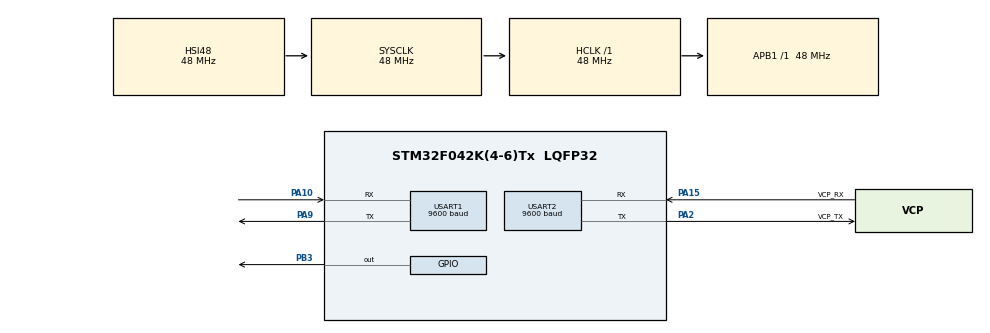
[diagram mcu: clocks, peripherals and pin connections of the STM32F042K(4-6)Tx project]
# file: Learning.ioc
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Mcu.Family=STM32F0
Mcu.Name=STM32F042K(4-6)Tx
Mcu.Package=LQFP32
NVIC.USART2_IRQn=true\:0\:0\:false\:false\:true\:true\:true
PA10.Mode=Asynchronous
PA10.Signal=USART1_RX
PA13.GPIO_Label=SWDIO
PA13.Mode=Serial_Wire
PA13.Signal=SYS_SWDIO
PA14.GPIO_Label=SWCLK
PA14.Mode=Serial_Wire
PA14.Signal=SYS_SWCLK
PA15.GPIO_Label=VCP_RX
PA15.Mode=Asynchronous
PA15.Signal=USART2_RX
PA2.GPIO_Label=VCP_TX
PA2.Mode=Asynchronous
PA2.Signal=USART2_TX
PA9.Mode=Asynchronous
PA9.Signal=USART1_TX
PB3.Signal=GPIO_Output
PF0-OSC_IN.Mode=HSE-External-Oscillator
PF0-OSC_IN.Signal=RCC_OSC_IN
PF1-OSC_OUT.Mode=HSE-External-Oscillator
PF1-OSC_OUT.Signal=RCC_OSC_OUT
ProjectManager.HeapSize=0x100
ProjectManager.StackSize=0x300
ProjectManager.TargetToolchain=STM32CubeIDE
RCC.AHBFreq_Value=48000000
RCC.APB1Freq_Value=48000000
RCC.APB1TimFreq_Value=48000000
RCC.HCLKFreq_Value=48000000
RCC.SYSCLKFreq_VALUE=48000000
RCC.SYSCLKSource=RCC_SYSCLKSOURCE_HSI48
USART1.BaudRate=9600
USART1.VirtualMode-Asynchronous=VM_ASYNC
USART2.BaudRate=9600
USART2.VirtualMode-Asynchronous=VM_ASYNC
board=NUCLEO-F042K6

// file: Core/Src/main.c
/* USER CODE BEGIN Header */
/**
  ******************************************************************************
  * @file           : main.c
  * @brief          : Main program body
  ******************************************************************************
  * @attention
  *
  * <h2><center>&copy; Copyright (c) 2020 STMicroelectronics.
  * All rights reserved.</center></h2>
  *
  * This software component is licensed by ST under BSD 3-Clause license,
  * the "License"; You may not use this file except in compliance with the
  * License. You may obtain a copy of the License at:
  *                        opensource.org/licenses/BSD-3-Clause
  *
  ******************************************************************************
  */
/* USER CODE END Header */
#include "main.h"
//#include "string.h"
#include <stdio.h>
#include<stdlib.h>

//#include "stm32f0xx_hal.h"
//#include <ctype.h>// for tolower()
/* USER CODE BEGIN Includes */

//This will let us call functions from the CDC library

/* USER CODE END Includes */

UART_HandleTypeDef huart1;
UART_HandleTypeDef huart2;

/* USER CODE BEGIN PV */

int len, command;
uint8_t buffer[100];
char Rx_indx, Rx_data[2], Rx_Buffer[100], Transfer_cplt ;
int sov1 = 0, sov2= 0, sov3= 0, sov4= 0, sov5= 0, sov6= 0, sov7= 0, sov8= 0, ig1= 0, ig2 =0 ;
/* USER CODE END PV */

void SystemClock_Config(void);
static void MX_GPIO_Init(void);
static void MX_USART1_UART_Init(void);
static void MX_USART2_UART_Init(void);
/* USER CODE BEGIN PFP */

//Interrupt callback routine
void HAL_UART_RxCpltCallback(UART_HandleTypeDef *huart)
{
    uint8_t i;
    if (huart->Instance == USART2)
        {
        if (Rx_indx==0) {for (i=0;i<100;i++) Rx_Buffer[i]=0;}   //clear Rx_Buffer before receiving new data

        if (Rx_data[0]!=13) //if received data different from ascii 13 (enter)
            {
            Rx_Buffer[Rx_indx++]=Rx_data[0];    //add data to Rx_Buffer
            }
        else            //if received data = 13
            {
            Rx_indx=0;
            Transfer_cplt = 1;//transfer complete, data is ready to read
            }

        HAL_UART_Receive_IT(&huart2, Rx_data, 1);   //activate UART receive interrupt every time
        }

}

/* USER CODE END PFP */

int main(void)
{

  /* MCU Configuration--------------------------------------------------------*/

  /* Reset of all peripherals, Initializes the Flash interface and the Systick. */
  HAL_Init();

  /* Configure the system clock */
  SystemClock_Config();

  /* Initialize all configured peripherals */
  MX_GPIO_Init();
  MX_USART1_UART_Init();
  MX_USART2_UART_Init();
  /* USER CODE BEGIN 2 */
  //***************************************************************
  //HAL_UART_Receive_IT(&huart2, &rxBuffer, 1); // start listening for incomming data
  HAL_UART_Receive_IT(&huart2,Rx_data, 1); // Asserts UART Interrupt every time 1 byte is received.
  //***************************************************************
  /* USER CODE END 2 */

  /* Infinite loop */
  while (1)
  {

    /* USER CODE BEGIN 3 */

     if (Transfer_cplt)
     {
    	 command = atoi(Rx_Buffer);

    	 switch (command){
    	 	 case 1:
    	 		HAL_GPIO_WritePin(GPIOB, GPIO_PIN_3, 1);
    	 		sprintf(buffer, "Valve SOV1 is ON..\r\n");
    	 		len =strlen(buffer);
    	 		HAL_UART_Transmit(&huart2, buffer, len, 1000);
    	 		//sov1 = 1;
    	 		Transfer_cplt=0; //Set to 0 to reset the transfer_complete variable
    	 		break;
    	 	 case 2:
    	 		HAL_GPIO_WritePin(GPIOB, GPIO_PIN_3, 0);
    	 		sprintf(buffer, "Valve SOV1 is OFF..\r\n");
    	 		len =strlen(buffer);
    	 		HAL_UART_Transmit(&huart2, buffer, len, 1000);
    	 		//sov1 = 0;
    	 		Transfer_cplt=0; //Set to 0 to reset the transfer_complete variable
    	 		break;
    	 	 case 3:
                //HAL_GPIO_WritePin(GPIOB, GPIO_PIN_3, 0);
    	 		sprintf(buffer, "Valve SOV2 is ON..\r\n");
    	 		len =strlen(buffer);
    	 		HAL_UART_Transmit(&huart2, buffer, len, 1000);
    	 		//sov2 = 1;
    	 		Transfer_cplt=0; //Set to 0 to reset the transfer_complete variable
    	 		break;
    	 	 case 4:
    	 		//HAL_GPIO_WritePin(GPIOB, GPIO_PIN_3, 0);
    	 		sprintf(buffer, "Valve SOV2 is OFF..\r\n");
    	 		len =strlen(buffer);
    	 		HAL_UART_Transmit(&huart2, buffer, len, 1000);
    	 		//sov2 = 0;
    	 		Transfer_cplt=0; //Set to 0 to reset the transfer_complete variable
    	 		break;
    	 	 case 5:
    	 		//HAL_GPIO_WritePin(GPIOB, GPIO_PIN_3, 0);
    	 		sprintf(buffer, "Valve SOV3 is ON..\r\n");
    	 		len =strlen(buffer);
    	 		HAL_UART_Transmit(&huart2, buffer, len, 1000);
    	 		//sov3 = 1;
    	 		Transfer_cplt=0; //Set to 0 to reset the transfer_complete variable
    	 		break;
    	 	 case 6:
    	 		//HAL_GPIO_WritePin(GPIOB, GPIO_PIN_3, 0);
    	 		sprintf(buffer, "Valve SOV3 is OFF..\r\n");
    	 		len =strlen(buffer);
    	 		HAL_UART_Transmit(&huart2, buffer, len, 1000);
    	 		//sov3 = 0;
    	 		Transfer_cplt=0; //Set to 0 to reset the transfer_complete variable
    	 		break;
    	 	 case 7:
    	   	     //HAL_GPIO_WritePin(GPIOB, GPIO_PIN_3, 0);
    	    	 sprintf(buffer, "Valve SOV4 is ON..\r\n");
    	    	 len =strlen(buffer);
    	    	 HAL_UART_Transmit(&huart2, buffer, len, 1000);
    	    	 //sov4 = 1;
    	    	 Transfer_cplt=0; //Set to 0 to reset the transfer_complete variable
    	    	 break;
    	 	 case 8:
    	   	 	//HAL_GPIO_WritePin(GPIOB, GPIO_PIN_3, 0);
    	    	 sprintf(buffer, "Valve SOV4 is OFF..\r\n");
    	    	 len =strlen(buffer);
    	    	 HAL_UART_Transmit(&huart2, buffer, len, 1000);
    	    	 //sov4 = 0;
    	    	 Transfer_cplt=0; //Set to 0 to reset the transfer_complete variable
    	    	 break;
    	 	 case 9:
    	   	 	//HAL_GPIO_WritePin(GPIOB, GPIO_PIN_3, 0);
    	    	 sprintf(buffer, "Valve SOV5 is ON..\r\n");
    	    	 len =strlen(buffer);
    	    	 HAL_UART_Transmit(&huart2, buffer, len, 1000);
    	    	 //sov5 = 1;
    	    	 Transfer_cplt=0; //Set to 0 to reset the transfer_complete variable
    	    	 break;
    	 	 case 10:
    	 		//HAL_GPIO_WritePin(GPIOB, GPIO_PIN_3, 0);
    	 		sprintf(buffer, "Valve SOV5 is OFF..\r\n");
    	 		len =strlen(buffer);
    	 		HAL_UART_Transmit(&huart2, buffer, len, 1000);
    	 		//sov5 = 0;
    	 		Transfer_cplt=0; //Set to 0 to reset the transfer_complete variable
    	 		break;
    	 	 case 11:
    	 		//HAL_GPIO_WritePin(GPIOB, GPIO_PIN_3, 0);
    	 		sprintf(buffer, "Valve SOV6 is ON..\r\n");
    	 		len =strlen(buffer);
    	 		HAL_UART_Transmit(&huart2, buffer, len, 1000);
    	 		//sov6 = 1;
    	 		Transfer_cplt=0; //Set to 0 to reset the transfer_complete variable
    	 		break;
    	 	 case 12:
    	 		//HAL_GPIO_WritePin(GPIOB, GPIO_PIN_3, 0);
    	 	     sprintf(buffer, "Valve SOV6 is OFF..\r\n");
    	 	     len =strlen(buffer);
    	 	     HAL_UART_Transmit(&huart2, buffer, len, 1000);
    	 	     //sov6 = 0;
    	 		 Transfer_cplt=0; //Set to 0 to reset the transfer_complete variable
    	 		 break;
    	 	 case 13:
    	 		//HAL_GPIO_WritePin(GPIOB, GPIO_PIN_3, 1);
    	 		sprintf(buffer, "Valve SOV7 is ON..\r\n");
    	 		len =strlen(buffer);
    	 		HAL_UART_Transmit(&huart2, buffer, len, 1000);
    	 		//sov7 = 1;
    	 		Transfer_cplt=0; //Set to 0 to reset the transfer_complete variable
    	 		break;
    	 	 case 14:
    	 		//HAL_GPIO_WritePin(GPIOB, GPIO_PIN_3, 0);
    	 		sprintf(buffer, "Valve SOV7 is OFF..\r\n");
    	 		len =strlen(buffer);
    	 		HAL_UART_Transmit(&huart2, buffer, len, 1000);
    	 		//sov7 =0;
    	 		Transfer_cplt=0; //Set to 0 to reset the transfer_complete variable
    	 		break;
    	 	 case 15:
                //HAL_GPIO_WritePin(GPIOB, GPIO_PIN_3, 0);
    	 		sprintf(buffer, "Valve SOV8 is ON..\r\n");
    	 		len =strlen(buffer);
    	 		HAL_UART_Transmit(&huart2, buffer, len, 1000);
    	 		//sov8 = 1;
    	 		Transfer_cplt=0; //Set to 0 to reset the transfer_complete variable
    	 		break;
    	 	 case 16:
    	 		//HAL_GPIO_WritePin(GPIOB, GPIO_PIN_3, 0);
    	 		sprintf(buffer, "Valve SOV8 is OFF..\r\n");
    	 		len =strlen(buffer);
    	 		HAL_UART_Transmit(&huart2, buffer, len, 1000);
    	 		//sov8 = 0;
    	 		Transfer_cplt=0; //Set to 0 to reset the transfer_complete variable
    	 		break;
    	 	 case 17:
    	 		//HAL_GPIO_WritePin(GPIOB, GPIO_PIN_3, 0);
    	 		sprintf(buffer, "IG1 is ON..\r\n");
    	 		len =strlen(buffer);
    	 		HAL_UART_Transmit(&huart2, buffer, len, 1000);
    	 		//ig1 = 1;
    	 		Transfer_cplt=0; //Set to 0 to reset the transfer_complete variable
    	 		break;
    	 	 case 18:
    	 		//HAL_GPIO_WritePin(GPIOB, GPIO_PIN_3, 0);
    	 		sprintf(buffer, "IG1 is OFF..\r\n");
    	 		len =strlen(buffer);
    	 		HAL_UART_Transmit(&huart2, buffer, len, 1000);
    	 		//ig1 = 0;
    	 		Transfer_cplt=0; //Set to 0 to reset the transfer_complete variable
    	 		break;
    	 	 case 19:
    	   	     //HAL_GPIO_WritePin(GPIOB, GPIO_PIN_3, 0);
    	    	 sprintf(buffer, "IG2 is ON..\r\n");
    	    	 len =strlen(buffer);
    	    	 HAL_UART_Transmit(&huart2, buffer, len, 1000);
    	    	 //ig2 = 1;
    	    	 Transfer_cplt=0; //Set to 0 to reset the transfer_complete variable
    	    	 break;
    	 	 case 20:
    	   	 	//HAL_GPIO_WritePin(GPIOB, GPIO_PIN_3, 0);
    	    	 sprintf(buffer, "Valve IG2 is OFF..\r\n");
    	    	 len =strlen(buffer);
    	    	 HAL_UART_Transmit(&huart2, buffer, len, 1000);
    	    	// ig2 = 0;
    	    	 Transfer_cplt=0; //Set to 0 to reset the transfer_complete variable
    	    	 break;

             /*
    	 	 case 21:
    	 		// Status
    	 		sprintf(buffer, "\n*** Valves and Igniters Status ***\r\n\n SOV1: %d\n SOV2: %d\n SOV3: %d\n SOV4: %d\n SOV5: %d\n SOV6: %d\n SOV7: %d\n SOV8: %d\n IG1:  %d\n IG2:  %d\r\n", sov1, sov2, sov3, sov4, sov5, sov6, sov7, sov8, ig1, ig2);
    	 		len =strlen(buffer);
    	 		HAL_UART_Transmit(&huart2, buffer, len, 1000);
    	 		Transfer_cplt=0; //Set to 0 to reset the transfer_complete variable
    	 		break;

    	 	 case 22:
                //Exiting the python script means turning off so turn off all the valves and igniters
    	 		sov1 = 0, sov2= 0, sov3= 0, sov4= 0, sov5= 0, sov6= 0, sov7= 0, sov8= 0, ig1= 0, ig2 =0;
    	 		//After setting the status we can proceed to turn low all the GPIOs used.
    	 	    break;*/

    	 	 default:
    	 		sprintf(buffer, "Please enter a valid command...\r\n");
    	 		len =strlen(buffer);
    	 		HAL_UART_Transmit(&huart2, buffer, len, 1000);
    	 		Transfer_cplt=0; //Set to 0 to reset the transfer_complete variable

    	 }

        }// end of if(Transfer_cplt)

      }//end of while loop

  /* USER CODE END 3 */
}// end of main function

void SystemClock_Config(void)
{
  RCC_OscInitTypeDef RCC_OscInitStruct = {0};
  RCC_ClkInitTypeDef RCC_ClkInitStruct = {0};
  RCC_PeriphCLKInitTypeDef PeriphClkInit = {0};

  /** Initializes the RCC Oscillators according to the specified parameters
  * in the RCC_OscInitTypeDef structure.
  */
  RCC_OscInitStruct.OscillatorType = RCC_OSCILLATORTYPE_HSI48;
  RCC_OscInitStruct.HSI48State = RCC_HSI48_ON;
  RCC_OscInitStruct.PLL.PLLState = RCC_PLL_NONE;
  if (HAL_RCC_OscConfig(&RCC_OscInitStruct) != HAL_OK)
  {
    Error_Handler();
  }
  /** Initializes the CPU, AHB and APB buses clocks
  */
  RCC_ClkInitStruct.ClockType = RCC_CLOCKTYPE_HCLK|RCC_CLOCKTYPE_SYSCLK
                              |RCC_CLOCKTYPE_PCLK1;
  RCC_ClkInitStruct.SYSCLKSource = RCC_SYSCLKSOURCE_HSI48;
  RCC_ClkInitStruct.AHBCLKDivider = RCC_SYSCLK_DIV1;
  RCC_ClkInitStruct.APB1CLKDivider = RCC_HCLK_DIV1;

  if (HAL_RCC_ClockConfig(&RCC_ClkInitStruct, FLASH_LATENCY_1) != HAL_OK)
  {
    Error_Handler();
  }
  PeriphClkInit.PeriphClockSelection = RCC_PERIPHCLK_USART1;
  PeriphClkInit.Usart1ClockSelection = RCC_USART1CLKSOURCE_PCLK1;
  if (HAL_RCCEx_PeriphCLKConfig(&PeriphClkInit) != HAL_OK)
  {
    Error_Handler();
  }
}

static void MX_USART1_UART_Init(void)
{

  huart1.Instance = USART1;
  huart1.Init.BaudRate = 9600;
  huart1.Init.WordLength = UART_WORDLENGTH_8B;
  huart1.Init.StopBits = UART_STOPBITS_1;
  huart1.Init.Parity = UART_PARITY_NONE;
  huart1.Init.Mode = UART_MODE_TX_RX;
  huart1.Init.HwFlowCtl = UART_HWCONTROL_NONE;
  huart1.Init.OverSampling = UART_OVERSAMPLING_16;
  huart1.Init.OneBitSampling = UART_ONE_BIT_SAMPLE_DISABLE;
  huart1.AdvancedInit.AdvFeatureInit = UART_ADVFEATURE_NO_INIT;
  if (HAL_UART_Init(&huart1) != HAL_OK)
  {
    Error_Handler();
  }

}

static void MX_USART2_UART_Init(void)
{

  huart2.Instance = USART2;
  huart2.Init.BaudRate = 9600;
  huart2.Init.WordLength = UART_WORDLENGTH_8B;
  huart2.Init.StopBits = UART_STOPBITS_1;
  huart2.Init.Parity = UART_PARITY_NONE;
  huart2.Init.Mode = UART_MODE_TX_RX;
  huart2.Init.HwFlowCtl = UART_HWCONTROL_NONE;
  huart2.Init.OverSampling = UART_OVERSAMPLING_16;
  huart2.Init.OneBitSampling = UART_ONE_BIT_SAMPLE_DISABLE;
  huart2.AdvancedInit.AdvFeatureInit = UART_ADVFEATURE_NO_INIT;
  if (HAL_UART_Init(&huart2) != HAL_OK)
  {
    Error_Handler();
  }

}

static void MX_GPIO_Init(void)
{
  GPIO_InitTypeDef GPIO_InitStruct = {0};

  /* GPIO Ports Clock Enable */
  __HAL_RCC_GPIOF_CLK_ENABLE();
  __HAL_RCC_GPIOA_CLK_ENABLE();
  __HAL_RCC_GPIOB_CLK_ENABLE();

  /*Configure GPIO pin Output Level */
  HAL_GPIO_WritePin(GPIOB, GPIO_PIN_3, GPIO_PIN_RESET);

  /*Configure GPIO pin : PB3 */
  GPIO_InitStruct.Pin = GPIO_PIN_3;
  GPIO_InitStruct.Mode = GPIO_MODE_OUTPUT_PP;
  GPIO_InitStruct.Pull = GPIO_NOPULL;
  GPIO_InitStruct.Speed = GPIO_SPEED_FREQ_LOW;
  HAL_GPIO_Init(GPIOB, &GPIO_InitStruct);

}

/* USER CODE BEGIN 4 */

/*
void HAL_UART_RxCpltCallback(UART_HandleTypeDef *huart)
{
	__NOP(); // nop is used to put a breakpoint if we are debugging
}

void HAL_UART_TxCpltCallback(UART_HandleTypeDef *huart)
{

   __NOP();

}
*/
 //***********************************************************************************

/* USER CODE END 4 */

void Error_Handler(void)
{
  /* USER CODE BEGIN Error_Handler_Debug */
  /* User can add his own implementation to report the HAL error return state */
  __disable_irq();
  while (1)
  {

	 //
  }
  /* USER CODE END Error_Handler_Debug */
}

/************************ (C) COPYRIGHT STMicroelectronics *****END OF FILE****/
